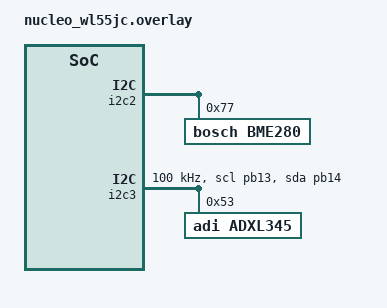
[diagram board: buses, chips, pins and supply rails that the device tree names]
/* 
 * Devicetree overlay for sensor unit tests on Nucleo WL55JC1
 * - BME280 on I2C2 (PA11/PA12) - Temperature, Pressure, Humidity
 * - ADXL345 on I2C3 (PB13/PB14) - Accelerometer
 */

/* BME280 on I2C2 (pre-configured on this board) */
&i2c2 {
    bme280@77 {
        compatible = "bosch,bme280";
        reg = <0x77>;
        status = "okay";
    };
};

/* ADXL345 on I2C3 with custom pinctrl */
&i2c3 {
    status = "okay";
    pinctrl-0 = <&i2c3_scl_pb13 &i2c3_sda_pb14>;
    pinctrl-names = "default";
    clock-frequency = <100000>;
    
    adxl345@53 {
        compatible = "adi,adxl345";
        reg = <0x53>;
        status = "okay";
    };
};

/* Pinctrl definitions for I2C3 on STM32WL55JC1 */
&pinctrl {
    i2c3_scl_pb13: i2c3_scl_pb13 {
        pinmux = <STM32_PINMUX('B', 13, AF4)>;
        bias-pull-up;
        drive-open-drain;
    };
    
    i2c3_sda_pb14: i2c3_sda_pb14 {
        pinmux = <STM32_PINMUX('B', 14, AF4)>;
        bias-pull-up;
        drive-open-drain;
    };
};
